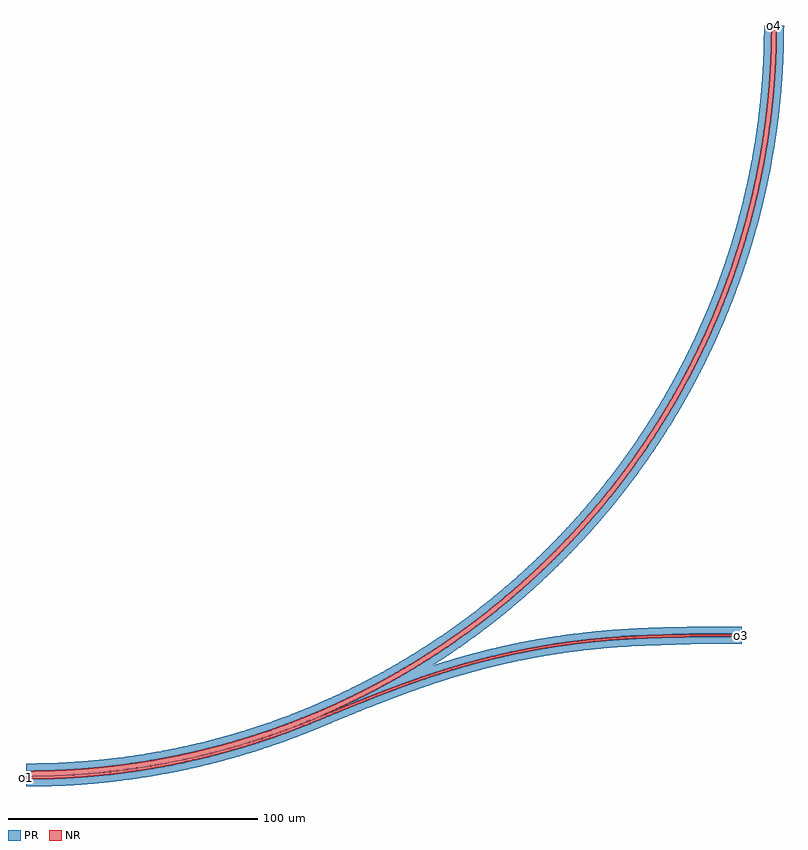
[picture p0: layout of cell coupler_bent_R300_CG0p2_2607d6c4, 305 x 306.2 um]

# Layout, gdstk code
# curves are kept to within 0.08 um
import gdstk
lib = gdstk.Library(unit=1e-6, precision=1e-09)
def P(c, l, *ps):  # polygons
    for p in ps: c.add(gdstk.Polygon(p, *l))
PR = (60, 0)
NR = (61, 0)

ps_27 = lib.new_cell('ps_27')
P(ps_27, PR, [(0,2.7),(0,5.7),(7.939,5.806),(16.119,6.139),(24.782,6.739),(32.93,7.537),(41.299,8.595),(49.634,9.891),(57.686,11.375),(66.177,13.192),(79.164,16.482),(91.988,20.356),(104.392,24.719),(116.818,29.726),(123.394,32.646),(129.451,35.507),(136.103,38.846),(142.669,42.351),(148.501,45.646),(154.681,49.331),(166.147,56.728),(177.26,64.645),(182.774,68.87),(188.762,73.698),(199.069,82.639),(204.155,87.371),(209.304,92.396),(214.329,97.545),(219.061,102.631),(228.002,112.938),(232.83,118.926),(237.055,124.44),(244.972,135.553),(252.369,147.019),(256.054,153.199),(259.349,159.031),(262.854,165.597),(266.193,172.249),(269.054,178.306),(271.974,184.882),(276.981,197.308),(281.344,209.712),(285.218,222.536),(288.508,235.523),(290.325,244.014),(291.809,252.066),(293.105,260.401),(294.163,268.77),(294.961,276.918),(295.561,285.581),(295.894,293.761),(296,301.7),(299,301.7),(298.912,294.433),(298.647,287.17),(298.187,279.665),(297.588,272.673),(296.825,265.698),(295.826,258.246),(294.597,250.575),(293.316,243.675),(291.819,236.563),(290.089,229.246),(288.309,222.459),(286.08,214.755),(283.882,207.827),(281.601,201.191),(279.075,194.376),(276.384,187.625),(273.63,181.17),(270.727,174.782),(267.45,168.015),(264.122,161.554),(260.637,155.176),(256.871,148.669),(252.942,142.259),(248.853,135.949),(244.895,130.155),(240.653,124.253),(236.269,118.457),(231.587,112.574),(226.595,106.621),(221.45,100.799),(216.501,95.476),(211.602,90.452),(206.224,85.199),(200.901,80.25),(195.079,75.105),(189.708,70.59),(184.035,66.047),(178.051,61.494),(171.955,57.093),(166.168,53.125),(160.077,49.16),(153.461,45.086),(147.179,41.432),(141.031,38.05),(134.581,34.7),(128.278,31.615),(121.446,28.475),(114.77,25.604),(108.025,22.896),(100.981,20.268),(93.873,17.818),(87.185,15.693),(80.449,13.726),(73.183,11.794),(66.115,10.101),(59.008,8.58),(51.619,7.189),(44.693,6.059),(37.495,5.06),(29.525,4.161),(22.035,3.513),(14.53,3.053),(7.267,2.788)],
  [(0,-3.5),(0,-0.5),(7.827,-0.399),(16.656,-0.041),(24.969,0.533),(33.011,1.308),(41.53,2.367),(49.767,3.626),(57.965,5.111),(66.366,6.877),(79.353,10.104),(91.702,13.749),(103.886,17.917),(115.647,22.504),(115.264,23.427),(107.078,20.176),(98.563,17.083),(90.439,14.398),(81.516,11.74),(68.845,8.473),(55.796,5.713),(48.609,4.448),(41.642,3.392),(34.152,2.442),(27.143,1.725),(19.616,1.139),(11.574,0.722),(0.503,0.5),(0,0.5),(0,0.7),(7.568,0.795),(14.376,1.043),(22.182,1.518),(29.472,2.146),(36.493,2.92),(44.244,3.969),(51.964,5.219),(58.66,6.471),(65.819,7.984),(73.183,9.732),(80.501,11.664),(87.768,13.78),(94.98,16.078),(102.131,18.556),(108.983,21.122),(115.537,23.757),(122.028,26.545),(128.908,29.7),(135.931,33.141),(142.196,36.405),(148.383,39.815),(154.921,43.629),(161.361,47.606),(167.698,51.743),(173.724,55.893),(179.85,60.339),(185.861,64.937),(191.367,69.364),(197.148,74.249),(202.618,79.108),(207.786,83.925),(213.196,89.218),(222.592,99.082),(227.451,104.552),(232.336,110.333),(240.757,121.042),(244.93,126.742),(249.252,132.956),(253.143,138.851),(256.895,144.837),(260.632,151.127),(264.214,157.506),(267.41,163.522),(270.91,170.517),(273.809,176.681),(276.767,183.373),(281.66,195.545),(286.096,208.158),(290.036,221.199),(293.268,233.913),(295.13,242.545),(296.696,250.979),(298.021,259.454),(299.018,267.211),(299.901,275.997),(300.497,284.301),(300.878,293.123),(301,301.7),(304,301.7),(303.838,291.764),(303.351,281.839),(302.589,272.442),(301.536,263.073),(300.153,253.49),(298.514,244.206),(296.643,235.225),(294.376,225.812),(291.81,216.476),(289.027,207.468),(285.966,198.551),(282.536,189.496),(278.616,180.088),(274.82,171.738),(271.005,163.959),(266.358,155.175),(261.557,146.767),(256.627,138.731),(251.45,130.852),(246.181,123.343),(240.22,115.392),(234.327,108.033),(228.041,100.669),(221.697,93.694),(215.321,87.1),(208.006,80.003),(201.031,73.659),(193.863,67.535),(186.308,61.48),(178.357,55.519),(170.848,50.25),(162.67,44.884),(170.098,47.223),(178.415,49.6),(186.609,51.694),(194.295,53.439),(202.78,55.124),(210.549,56.448),(218.922,57.644),(226.751,58.548),(239.154,59.574),(252.123,60.205),(267.164,60.532),(287.09,60.606),(287.09,57.606),(269.85,57.558),(257.532,57.363),(246.543,56.978),(236.888,56.413),(227.435,55.602),(217.606,54.445),(207.821,52.965),(198.649,51.276),(189.163,49.217),(180.117,46.951),(171.145,44.405),(161.562,41.357),(152.252,38.106),(141.958,34.241),(131.035,29.91),(115.265,23.428),(115.647,22.504),(132.814,29.55),(145.499,34.529),(157.048,38.754),(168.357,42.505),(177.812,45.288),(187.177,47.716),(196.615,49.84),(205.556,51.56),(217.74,53.454),(230.173,54.862),(243.189,55.807),(257.746,56.368),(269.858,56.558),(287.09,56.606),(287.09,53.606),(271.016,53.567),(258.761,53.391),(247.292,53.008),(237.173,52.423),(228.024,51.641),(218.698,50.555),(209.225,49.144),(199.987,47.464),(190.624,45.45),(181.512,43.183),(173.016,40.79),(163.366,37.742),(153.616,34.346),(143.226,30.443),(132.535,26.202),(113.252,18.29),(103.719,14.664),(96.976,12.317),(90.18,10.127),(83.089,8.028),(75.703,6.038),(66.03,3.728),(56.537,1.782),(47.24,0.178),(37.644,-1.17),(28.519,-2.165),(18.858,-2.917),(8.924,-3.37)])

ng_25 = lib.new_cell('ng_25')
P(ng_25, NR, [(0,-0.5),(0,0.5),(10.568,0.685),(21.373,1.259),(31.901,2.194),(42.14,3.462),(50.843,4.822),(58.761,6.287),(67.619,8.188),(75.929,10.227),(85.626,12.927),(95.705,16.109),(105.666,19.643),(115.264,23.427),(115.647,22.504),(115.265,23.428),(125.595,27.693),(145.321,35.531),(153.679,38.621),(161.562,41.357),(171.145,44.405),(180.117,46.951),(189.163,49.217),(198.276,51.201),(207.821,52.965),(217.606,54.445),(227.435,55.602),(236.888,56.413),(246.543,56.978),(257.532,57.363),(269.85,57.558),(287.09,57.606),(287.09,56.606),(268.723,56.548),(256.044,56.324),(243.377,55.817),(232.811,55.094),(223.952,54.223),(215.485,53.142),(206.865,51.788),(198.288,50.183),(188.837,48.113),(179.825,45.837),(171.252,43.393),(162.418,40.588),(152.949,37.295),(142.496,33.377),(131.41,28.983),(112.139,21.076),(102.462,17.4),(95.304,14.921),(88.569,12.77),(81.543,10.709),(74.714,8.881),(65.381,6.657),(56.478,4.824),(47.025,3.181),(37.775,1.87),(28.238,0.822),(18.673,0.077),(9.341,-0.356)],
  [(0,0.7),(0,2.7),(8.27,2.814),(16.533,3.157),(24.533,3.708),(32.517,4.473),(40.725,5.486),(48.407,6.644),(56.549,8.096),(64.158,9.664),(77.548,12.931),(84.063,14.76),(91.013,16.888),(103.336,21.124),(110.358,23.811),(116.388,26.282),(122.819,29.089),(129.409,32.155),(135.922,35.38),(142.355,38.762),(148.703,42.3),(154.75,45.861),(160.923,49.698),(166.584,53.404),(172.774,57.671),(178.454,61.793),(184.035,66.047),(189.708,70.59),(195.079,75.105),(200.901,80.25),(206.224,85.199),(211.248,90.098),(216.501,95.476),(221.113,100.428),(225.939,105.862),(230.473,111.218),(234.88,116.679),(239.307,122.443),(243.448,128.108),(247.736,134.284),(251.732,140.355),(255.579,146.521),(259.275,152.779),(262.938,159.345),(266.32,165.778),(269.545,172.291),(272.611,178.881),(275.418,185.312),(277.889,191.342),(280.576,198.364),(284.812,210.687),(286.94,217.637),(288.769,224.152),(292.036,237.542),(293.604,245.151),(295.056,253.293),(296.214,260.975),(297.227,269.183),(297.992,277.167),(298.543,285.167),(298.886,293.43),(299,301.7),(301,301.7),(300.905,294.132),(300.657,287.324),(300.182,279.518),(299.554,272.228),(298.78,265.207),(297.768,257.706),(296.696,250.979),(295.278,243.287),(293.826,236.374),(292.151,229.251),(290.304,222.172),(288.14,214.656),(285.939,207.679),(283.654,200.994),(281.032,193.894),(278.329,187.095),(275.461,180.364),(272.323,173.477),(269.126,166.895),(265.77,160.394),(262.381,154.196),(258.589,147.645),(254.634,141.192),(250.797,135.261),(246.533,129.008),(242.113,122.863),(238.004,117.43),(233.136,111.309),(228.275,105.507),(223.608,100.204),(218.818,95.012),(213.196,89.218),(207.786,83.925),(202.618,79.108),(197.148,74.249),(191.367,69.364),(185.861,64.937),(179.85,60.339),(173.724,55.893),(167.698,51.743),(161.361,47.606),(154.921,43.629),(148.383,39.815),(142.196,36.405),(135.931,33.141),(128.908,29.7),(122.028,26.545),(115.537,23.757),(108.983,21.122),(102.131,18.556),(94.98,16.078),(87.768,13.78),(80.501,11.664),(73.183,9.732),(65.819,7.984),(58.66,6.471),(51.964,5.219),(44.244,3.969),(36.493,2.92),(29.472,2.146),(22.182,1.518),(14.376,1.043),(7.568,0.795)])

bend_coupler_1 = lib.new_cell('bend_coupler$1')

coupler_bent_r300_cg0p2_ = lib.new_cell('coupler_bent_R300_CG0p2_2607d6c4')
P(coupler_bent_r300_cg0p2_, NR, [(0,-0.5),(-0.5,0),(-0.125,0.375),(-0.05,0.375),(-0.43,0),(-0.05,0),(-0.05,0.375),(-0.125,0.375),(0,0.5)],
  [(0,0.7),(-1,1.7),(-0.25,2.45),(-0.1,2.45),(-0.859,1.7),(-0.1,1.7),(-0.1,2.45),(-0.25,2.45),(0,2.7)],
  [(287.09,56.606),(287.09,57.106),(287.14,57.106),(287.14,56.731),(287.52,57.106),(287.09,57.106),(287.09,57.606),(287.59,57.106)],
  [(299,301.7),(299.859,302.559),(300,302.559),(300,301.8),(300.75,301.8),(300,302.559),(299.859,302.559),(300,302.7),(301,301.7)])
coupler_bent_r300_cg0p2_.add(gdstk.Reference(ps_27, (0,0)))
coupler_bent_r300_cg0p2_.add(gdstk.Reference(ng_25, (0,0)))
coupler_bent_r300_cg0p2_.add(gdstk.Reference(bend_coupler_1, (0,0)))
coupler_bent_r300_cg0p2_.add(gdstk.Label('o1', (0,0), layer=61, texttype=0))
coupler_bent_r300_cg0p2_.add(gdstk.Label('o2', (0,1.7), layer=61, texttype=0))
coupler_bent_r300_cg0p2_.add(gdstk.Label('o3', (287.09,57.106), layer=61, texttype=0))
coupler_bent_r300_cg0p2_.add(gdstk.Label('o4', (300,301.7), layer=61, texttype=0))

lib.write_gds('coupler_bent_R300_CG0p2_2607d6c4.gds')
